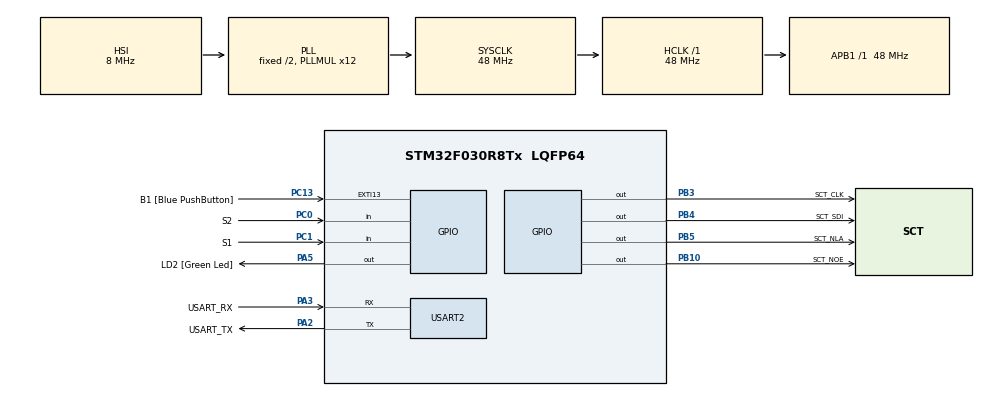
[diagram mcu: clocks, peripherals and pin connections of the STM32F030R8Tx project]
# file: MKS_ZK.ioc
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Mcu.Family=STM32F0
Mcu.Name=STM32F030R8Tx
Mcu.Package=LQFP64
PA13.GPIO_Label=TMS
PA13.Mode=Serial_Wire
PA13.Signal=SYS_SWDIO
PA14.GPIO_Label=TCK
PA14.Mode=Serial_Wire
PA14.Signal=SYS_SWCLK
PA2.GPIO_Label=USART_TX
PA2.GPIO_Mode=GPIO_MODE_AF_PP
PA2.GPIO_PuPd=GPIO_NOPULL
PA2.GPIO_Speed=GPIO_SPEED_FREQ_LOW
PA2.Mode=Asynchronous
PA2.Signal=USART2_TX
PA3.GPIO_Label=USART_RX
PA3.GPIO_Mode=GPIO_MODE_AF_PP
PA3.GPIO_PuPd=GPIO_NOPULL
PA3.GPIO_Speed=GPIO_SPEED_FREQ_LOW
PA3.Mode=Asynchronous
PA3.Signal=USART2_RX
PA5.GPIO_Label=LD2 [Green Led]
PA5.GPIO_Mode=GPIO_MODE_OUTPUT_PP
PA5.GPIO_PuPd=GPIO_NOPULL
PA5.GPIO_Speed=GPIO_SPEED_FREQ_LOW
PA5.Signal=GPIO_Output
PB10.GPIO_Label=SCT_NOE
PB10.Signal=GPIO_Output
PB3.GPIO_Label=SCT_CLK
PB3.Signal=GPIO_Output
PB4.GPIO_Label=SCT_SDI
PB4.Signal=GPIO_Output
PB5.GPIO_Label=SCT_NLA
PB5.Signal=GPIO_Output
PC0.GPIO_Label=S2
PC0.GPIO_PuPd=GPIO_PULLUP
PC0.Signal=GPIO_Input
PC1.GPIO_Label=S1
PC1.GPIO_PuPd=GPIO_PULLUP
PC1.Signal=GPIO_Input
PC13.GPIO_Label=B1 [Blue PushButton]
PC13.GPIO_ModeDefaultEXTI=GPIO_MODE_IT_FALLING
PC13.Signal=GPXTI13
PC14-OSC32_IN.Mode=LSE-External-Oscillator
PC14-OSC32_IN.Signal=RCC_OSC32_IN
PC15-OSC32_OUT.Mode=LSE-External-Oscillator
PC15-OSC32_OUT.Signal=RCC_OSC32_OUT
PF0-OSC_IN.Mode=HSE-External-Clock-Source
PF0-OSC_IN.Signal=RCC_OSC_IN
PF1-OSC_OUT.Signal=RCC_OSC_OUT
ProjectManager.HeapSize=0x200
ProjectManager.StackSize=0x400
ProjectManager.TargetToolchain=STM32CubeIDE
RCC.AHBFreq_Value=48000000
RCC.APB1Freq_Value=48000000
RCC.APB1TimFreq_Value=48000000
RCC.HCLKFreq_Value=48000000
RCC.PLLMUL=RCC_PLL_MUL12
RCC.SYSCLKFreq_VALUE=48000000
RCC.SYSCLKSource=RCC_SYSCLKSOURCE_PLLCLK
USART2.VirtualMode-Asynchronous=VM_ASYNC
board=NUCLEO-F030R8

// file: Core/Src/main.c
/* USER CODE BEGIN Header */
/**
 ******************************************************************************
 * @file           : main.c
 * @brief          : Main program body
 ******************************************************************************
 * @attention
 *
 * Copyright (c) 2023 STMicroelectronics.
 * All rights reserved.
 *
 * This software is licensed under terms that can be found in the LICENSE file
 * in the root directory of this software component.
 * If no LICENSE file comes with this software, it is provided AS-IS.
 *
 ******************************************************************************
 */
/* USER CODE END Header */
#include "main.h"

/* USER CODE BEGIN Includes */
#include "sct.h"
#include "stdio.h"

/* USER CODE END Includes */

UART_HandleTypeDef huart2;

/* USER CODE BEGIN PV */

static uint8_t stop_watch = 0;
static uint32_t timer = 0;
static uint8_t timing = 0;
static uint8_t seconds = 0;
static uint8_t tenthsec = 0;

static uint8_t S1 = 0;
static uint32_t pressed_S1 = 0;
static uint8_t switch1 = 0;
static uint8_t switch1_count = 0;

static uint8_t S2 = 0;
static uint32_t pressed_S2 = 0;
static uint8_t switch2 = 0;
static uint8_t switch2_count = 0;

static uint8_t mid_time_sec = 0;
static uint8_t mid_time_tenth = 0;

/* USER CODE END PV */

void SystemClock_Config(void);
static void MX_GPIO_Init(void);
static void MX_USART2_UART_Init(void);

/* USER CODE BEGIN 0 */

/*
 void start_watch(){
 uint16_t seconds = 0;
 uint8_t tenthsec = 0;
 timer = HAL_GetTick();
 if(HAL_GetTick()-timer>100){
 tenthsec++;

 if(tenthsec>9){tenthsec=0;} //preteceni desetin sekundy
 }

 if(HAL_GetTick()-timer>1000){
 seconds++;
 if(seconds>99){seconds=0;} //preteceni sekund
 }
 }

 void stop_watch(){
 }

 void reset_watch(){
 }

 void show_mid_time(){

 }

 */

/* USER CODE END 0 */

int main(void)
{

  /* MCU Configuration--------------------------------------------------------*/

  /* Reset of all peripherals, Initializes the Flash interface and the Systick. */
  HAL_Init();

  /* USER CODE BEGIN Init */

	sct_init();

  /* USER CODE END Init */

  /* Configure the system clock */
  SystemClock_Config();

  /* Initialize all configured peripherals */
  MX_GPIO_Init();
  MX_USART2_UART_Init();

  /* Infinite loop */
  /* USER CODE BEGIN WHILE */
	while (1) {

		if(stop_watch == 0){

			switch(timing){
			case 0:
				timer = HAL_GetTick();	// casovac stopek
				timing = 1;
			break;

			case 1:
				if (HAL_GetTick() - timer > 100) {
					tenthsec++;
					if (tenthsec > 9) {
							tenthsec = 0;
						} //preteceni desetin sekundy
					}

				if (HAL_GetTick() - timer > 1000) {
					seconds++;
					if (seconds > 99) {
						seconds = 0;
					} //preteceni sekund
					timing = 0;
				}
			break;
			}
		}

		switch(S1){ // S1 s osetrenymi zakmity
		case 0:
			switch1 = HAL_GPIO_ReadPin(S1_GPIO_Port, S1_Pin);
			if(switch1==0){
				switch1_count++;
				pressed_S1 = HAL_GetTick();
				S1 = 1;
			}
		break;

		case 1:
			if(HAL_GetTick() - pressed_S1>150){
				S1=0;
			}
		break;
		}

		switch(S2){ // S2 s osetrenymi zakmity
		case 0:
			switch2 = HAL_GPIO_ReadPin(S2_GPIO_Port, S2_Pin);
			if(switch2==0){
				switch2_count++;
				pressed_S2 = HAL_GetTick();
				S2 = 1;
			}
		break;

		case 1:
			if(HAL_GetTick() - pressed_S2>150){
				S2=0;
			}
		break;
		}

		switch(switch2_count){
			case 1:
				stop_watch = 1; // STOP
				mid_time_sec = seconds;
				mid_time_tenth = tenthsec;
			break;

			case 2:// RESET
				seconds = 0;
				tenthsec = 0;
			break;

			case 3:// START
				stop_watch = 0;
			break;

			case 4:
				switch2_count = 0;
			break;
			}

			if (switch1_count > 1){
				switch1_count = 0;
			}

		//switch(stopwatch){

		static uint32_t lastDisplayTicks = 0;

		if (HAL_GetTick() >= lastDisplayTicks + 100) { // osetreni pro prepisovani displeje

			if(switch1_count == 0){
				sct_value((seconds*10)+tenthsec , seconds/12, 2); // hodnota pro vypis, LED bargraf, desetinna carka
				}
			if(switch1_count == 1){
				sct_value((mid_time_sec*10)+mid_time_tenth , mid_time_sec/12, 2);
				}
		lastDisplayTicks = HAL_GetTick();
		}

    /* USER CODE END WHILE */

	}
}

void SystemClock_Config(void)
{
  RCC_OscInitTypeDef RCC_OscInitStruct = {0};
  RCC_ClkInitTypeDef RCC_ClkInitStruct = {0};

  /** Initializes the RCC Oscillators according to the specified parameters
  * in the RCC_OscInitTypeDef structure.
  */
  RCC_OscInitStruct.OscillatorType = RCC_OSCILLATORTYPE_HSI;
  RCC_OscInitStruct.HSIState = RCC_HSI_ON;
  RCC_OscInitStruct.HSICalibrationValue = RCC_HSICALIBRATION_DEFAULT;
  RCC_OscInitStruct.PLL.PLLState = RCC_PLL_ON;
  RCC_OscInitStruct.PLL.PLLSource = RCC_PLLSOURCE_HSI;
  RCC_OscInitStruct.PLL.PLLMUL = RCC_PLL_MUL12;
  RCC_OscInitStruct.PLL.PREDIV = RCC_PREDIV_DIV1;
  if (HAL_RCC_OscConfig(&RCC_OscInitStruct) != HAL_OK)
  {
    Error_Handler();
  }

  /** Initializes the CPU, AHB and APB buses clocks
  */
  RCC_ClkInitStruct.ClockType = RCC_CLOCKTYPE_HCLK|RCC_CLOCKTYPE_SYSCLK
                              |RCC_CLOCKTYPE_PCLK1;
  RCC_ClkInitStruct.SYSCLKSource = RCC_SYSCLKSOURCE_PLLCLK;
  RCC_ClkInitStruct.AHBCLKDivider = RCC_SYSCLK_DIV1;
  RCC_ClkInitStruct.APB1CLKDivider = RCC_HCLK_DIV1;

  if (HAL_RCC_ClockConfig(&RCC_ClkInitStruct, FLASH_LATENCY_1) != HAL_OK)
  {
    Error_Handler();
  }
}

static void MX_USART2_UART_Init(void)
{

  huart2.Instance = USART2;
  huart2.Init.BaudRate = 38400;
  huart2.Init.WordLength = UART_WORDLENGTH_8B;
  huart2.Init.StopBits = UART_STOPBITS_1;
  huart2.Init.Parity = UART_PARITY_NONE;
  huart2.Init.Mode = UART_MODE_TX_RX;
  huart2.Init.HwFlowCtl = UART_HWCONTROL_NONE;
  huart2.Init.OverSampling = UART_OVERSAMPLING_16;
  huart2.Init.OneBitSampling = UART_ONE_BIT_SAMPLE_DISABLE;
  huart2.AdvancedInit.AdvFeatureInit = UART_ADVFEATURE_NO_INIT;
  if (HAL_UART_Init(&huart2) != HAL_OK)
  {
    Error_Handler();
  }

}

static void MX_GPIO_Init(void)
{
  GPIO_InitTypeDef GPIO_InitStruct = {0};

  /* GPIO Ports Clock Enable */
  __HAL_RCC_GPIOC_CLK_ENABLE();
  __HAL_RCC_GPIOF_CLK_ENABLE();
  __HAL_RCC_GPIOA_CLK_ENABLE();
  __HAL_RCC_GPIOB_CLK_ENABLE();

  /*Configure GPIO pin Output Level */
  HAL_GPIO_WritePin(LD2_GPIO_Port, LD2_Pin, GPIO_PIN_RESET);

  /*Configure GPIO pin Output Level */
  HAL_GPIO_WritePin(GPIOB, SCT_NOE_Pin|SCT_CLK_Pin|SCT_SDI_Pin|SCT_NLA_Pin, GPIO_PIN_RESET);

  /*Configure GPIO pin : B1_Pin */
  GPIO_InitStruct.Pin = B1_Pin;
  GPIO_InitStruct.Mode = GPIO_MODE_IT_FALLING;
  GPIO_InitStruct.Pull = GPIO_NOPULL;
  HAL_GPIO_Init(B1_GPIO_Port, &GPIO_InitStruct);

  /*Configure GPIO pins : S2_Pin S1_Pin */
  GPIO_InitStruct.Pin = S2_Pin|S1_Pin;
  GPIO_InitStruct.Mode = GPIO_MODE_INPUT;
  GPIO_InitStruct.Pull = GPIO_PULLUP;
  HAL_GPIO_Init(GPIOC, &GPIO_InitStruct);

  /*Configure GPIO pin : LD2_Pin */
  GPIO_InitStruct.Pin = LD2_Pin;
  GPIO_InitStruct.Mode = GPIO_MODE_OUTPUT_PP;
  GPIO_InitStruct.Pull = GPIO_NOPULL;
  GPIO_InitStruct.Speed = GPIO_SPEED_FREQ_LOW;
  HAL_GPIO_Init(LD2_GPIO_Port, &GPIO_InitStruct);

  /*Configure GPIO pins : SCT_NOE_Pin SCT_CLK_Pin SCT_SDI_Pin SCT_NLA_Pin */
  GPIO_InitStruct.Pin = SCT_NOE_Pin|SCT_CLK_Pin|SCT_SDI_Pin|SCT_NLA_Pin;
  GPIO_InitStruct.Mode = GPIO_MODE_OUTPUT_PP;
  GPIO_InitStruct.Pull = GPIO_NOPULL;
  GPIO_InitStruct.Speed = GPIO_SPEED_FREQ_LOW;
  HAL_GPIO_Init(GPIOB, &GPIO_InitStruct);

}

void Error_Handler(void)
{
	__disable_irq();
	while (1) {
	}
}
